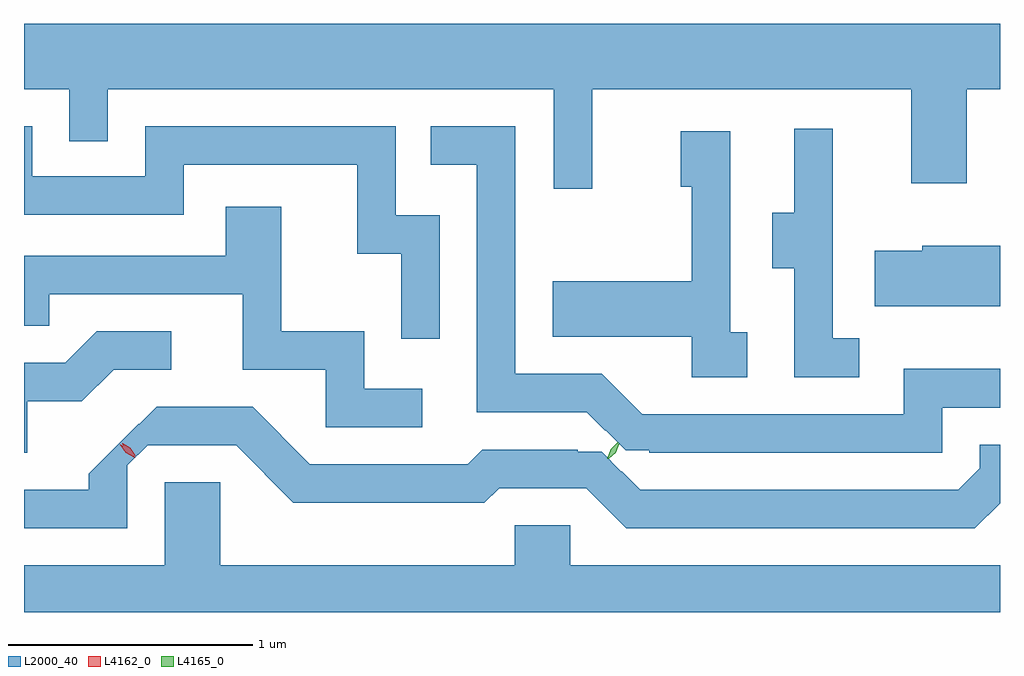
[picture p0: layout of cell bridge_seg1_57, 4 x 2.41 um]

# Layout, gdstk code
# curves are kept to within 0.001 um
import gdstk
lib = gdstk.Library(unit=1e-6, precision=1e-09)
def P(c, l, *ps):  # polygons
    for p in ps: c.add(gdstk.Polygon(p, *l))
L2000_40 = (2000, 40)
L4162_0 = (4162, 0)
L4165_0 = (4165, 0)

bridge_seg1_57 = lib.new_cell('bridge_seg1_57')
P(bridge_seg1_57, L2000_40, [(1896.674,841.856),(1897.981,841.856),(1897.981,841.471),(1898.209,841.471),(1898.209,841.856),(1898.345,841.856),(1898.345,842.124),(1894.345,842.124),(1894.345,841.856),(1894.531,841.856),(1894.531,841.643),(1894.689,841.643),(1894.689,841.856),(1896.516,841.856),(1896.516,841.448),(1896.674,841.448)],
  [(1898.109,840.551),(1898.345,840.551),(1898.345,840.709),(1897.951,840.709),(1897.951,840.524),(1896.878,840.524),(1896.713,840.689),(1896.359,840.689),(1896.359,841.704),(1896.013,841.704),(1896.013,841.546),(1896.201,841.546),(1896.201,840.531),(1896.652,840.531),(1896.728,840.455),(1896.73,840.457),(1896.811,840.376),(1896.908,840.376),(1896.908,840.366),(1898.109,840.366)],
  [(1896.049,841.339),(1895.869,841.339),(1895.869,841.704),(1894.841,841.704),(1894.841,841.499),(1894.379,841.499),(1894.379,841.704),(1894.345,841.704),(1894.345,841.341),(1894.999,841.341),(1894.999,841.546),(1895.711,841.546),(1895.711,841.181),(1895.891,841.181),(1895.891,840.833),(1896.049,840.833)],
  [(1897.768,840.834),(1897.659,840.834),(1897.659,841.693),(1897.501,841.693),(1897.501,841.349),(1897.411,841.349),(1897.411,841.121),(1897.501,841.121),(1897.501,840.676),(1897.768,840.676)],
  [(1897.309,840.859),(1897.239,840.859),(1897.239,841.684),(1897.036,841.684),(1897.036,841.456),(1897.081,841.456),(1897.081,841.069),(1896.511,841.069),(1896.511,840.841),(1897.081,840.841),(1897.081,840.676),(1897.309,840.676)],
  [(1895.978,840.629),(1895.739,840.629),(1895.739,840.864),(1895.399,840.864),(1895.399,841.374),(1895.171,841.374),(1895.171,841.174),(1894.345,841.174),(1894.345,840.886),(1894.449,840.886),(1894.449,841.016),(1895.241,841.016),(1895.241,840.706),(1895.581,840.706),(1895.581,840.471),(1895.978,840.471)],
  [(1898.345,841.214),(1898.026,841.214),(1898.026,841.194),(1897.831,841.194),(1897.831,840.966),(1898.345,840.966)],
  [(1894.359,840.576),(1894.582,840.576),(1894.712,840.706),(1894.948,840.706),(1894.948,840.864),(1894.644,840.864),(1894.514,840.734),(1894.345,840.734),(1894.345,840.366),(1894.359,840.366)],
  [(1894.769,840.314),(1894.852,840.397),(1895.214,840.396),(1895.449,840.161),(1896.232,840.161),(1896.292,840.221),(1896.649,840.221),(1896.814,840.056),(1898.242,840.056),(1898.345,840.159),(1898.345,840.399),(1898.261,840.399),(1898.261,840.302),(1898.174,840.214),(1896.871,840.214),(1896.795,840.29),(1896.793,840.288),(1896.713,840.369),(1896.615,840.369),(1896.615,840.379),(1896.224,840.379),(1896.164,840.319),(1895.517,840.319),(1895.282,840.554),(1894.89,840.554),(1894.818,840.482),(1894.816,840.484),(1894.611,840.279),(1894.611,840.214),(1894.345,840.214),(1894.345,840.056),(1894.769,840.056)],
  [(1898.345,839.904),(1896.584,839.904),(1896.584,840.069),(1896.356,840.069),(1896.356,839.904),(1895.149,839.904),(1895.149,840.244),(1894.921,840.244),(1894.921,839.904),(1894.345,839.904),(1894.345,839.712),(1898.345,839.712)])
P(bridge_seg1_57, L4162_0, [(1894.799,840.354),(1894.767,840.372),(1894.748,840.403),(1894.748,840.404),(1894.749,840.404),(1894.781,840.386),(1894.8,840.355),(1894.8,840.354)],
  [(1894.799,840.345),(1894.762,840.365),(1894.737,840.4),(1894.737,840.401),(1894.738,840.401),(1894.775,840.38),(1894.8,840.345),(1894.8,840.345)])
P(bridge_seg1_57, L4165_0, [(1896.736,840.341),(1896.736,840.342),(1896.75,840.38),(1896.779,840.408),(1896.779,840.408),(1896.78,840.408),(1896.766,840.369),(1896.737,840.341)],
  [(1896.74,840.341),(1896.74,840.342),(1896.754,840.378),(1896.783,840.403),(1896.784,840.403),(1896.784,840.402),(1896.77,840.366),(1896.741,840.341)])

lib.write_gds('bridge_seg1_57.gds')
